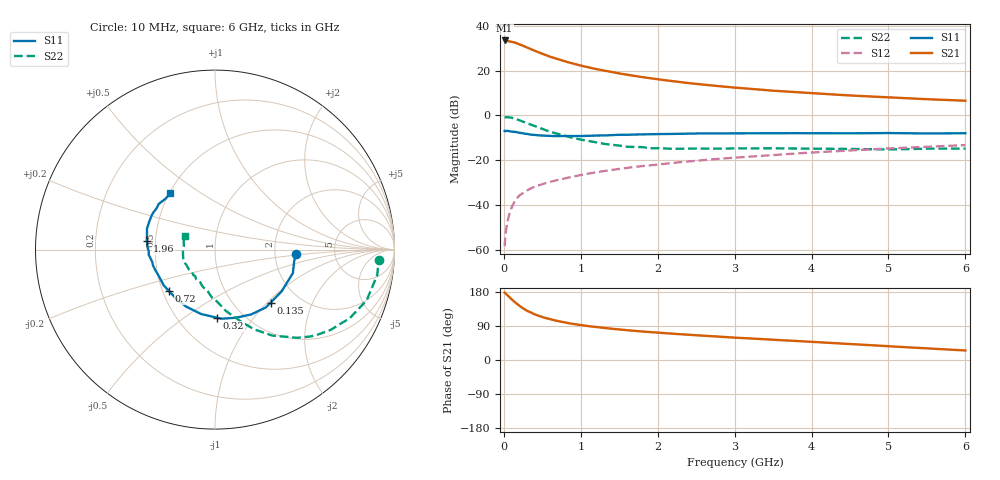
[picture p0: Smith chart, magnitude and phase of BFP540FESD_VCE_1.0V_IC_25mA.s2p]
! Infineon Technologies  Discrete & RF Semiconductors
! BFP540FESD
! VCE =  1.0 V,  IC =  25 mA
! Common Emitter S-Parameters:  Nov 2015
# GHz  S  MA  R  50
!  f  S11  S21  S12  S22
! GHz  MAG  ANG  MAG  ANG  MAG  ANG  MAG  ANG
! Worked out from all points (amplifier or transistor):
!   210 points, 10 MHz to 6 GHz, reference 50 ohm
!   highest |S21| = 33.5 dB at 10 MHz (marker M1)
!   |S21| within 3 dB of that: start of sweep to 291.7 MHz
!   unconditionally stable (mu >= 1): start of sweep to 10.19 MHz; 1.549 GHz to end of sweep
!   at 185 MHz: K = 0.35, MSG = 34.2 dB, |S12| = -36.4 dB
!   at 1.52 GHz: K = 1.00, MSG = 21.2 dB, |S12| = -23.8 dB
!   at 6 GHz: K = 1.16, MAG = 7.5 dB, |S12| = -13.3 dB
!   S11 on the Smith chart (normalised r, x): 10 MHz: 2.64, -0.16; 135 MHz: 1.45, -1.05; 320 MHz: 0.76, -0.68; 720 MHz: 0.54, -0.28; 1.96 GHz: 0.45, +0.05; 6 GHz: 0.51, +0.38
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0.01  0.4517 -3.0  47.29 177.7  0.0012 109.5  0.9144 -3.8
0.02  0.4457 -8.4  45.78 176.2  0.002 94.4  0.9138 -2.9
0.05  0.4533 -16.8  46.04 170.3  0.0044 82.8  0.9151 -8.9
0.1  0.4379 -32.3  44.29 160.3  0.0087 81.4  0.8909 -18.5
0.135  0.428 -43.7  42.66 154.1  0.0115 75.3  0.8548 -24.4
0.15  0.4291 -48.7  42.12 151.3  0.0127 73.5  0.8422 -27.0
0.2  0.4136 -60.9  38.95 143.1  0.0161 71.4  0.7847 -34.7
0.26  0.3936 -75.5  35.3 135.1  0.019 67.8  0.7182 -42.4
0.32  0.38 -88.1  31.92 128.4  0.0219 65.9  0.6522 -48.6
0.4  0.367 -102.3  27.86 120.5  0.0256 63.8  0.5759 -56.3
0.5  0.356 -116.7  23.83 113.1  0.0291 62.3  0.4954 -63.8
0.6  0.3492 -127.4  20.52 107.4  0.0327 62.8  0.4329 -69.5
0.72  0.3451 -138.1  17.64 102.0  0.0368 62.4  0.3785 -75.5
0.84  0.3468 -147.5  15.34 97.3  0.0408 61.9  0.3333 -81.5
1.02  0.3476 -157.5  12.75 91.6  0.0474 61.6  0.2841 -89.1
1.42  0.3637 -173.1  9.189 82.1  0.0611 60.9  0.2204 -106.8
1.96  0.382 173.0  6.555 72.7  0.0791 59.1  0.1853 -128.8
2.02  0.3839 171.6  6.347 71.8  0.081 58.8  0.1852 -131.0
3.1  0.3985 156.5  4.059 58.0  0.1172 53.3  0.1836 -157.1
4.1  0.4004 148.3  3.065 46.8  0.1515 47.0  0.1802 -172.7
5.1  0.4016 139.6  2.486 35.2  0.1861 38.7  0.175 171.9
6  0.4001 128.5  2.131 25.1  0.2167 31.0  0.1818 156.3
